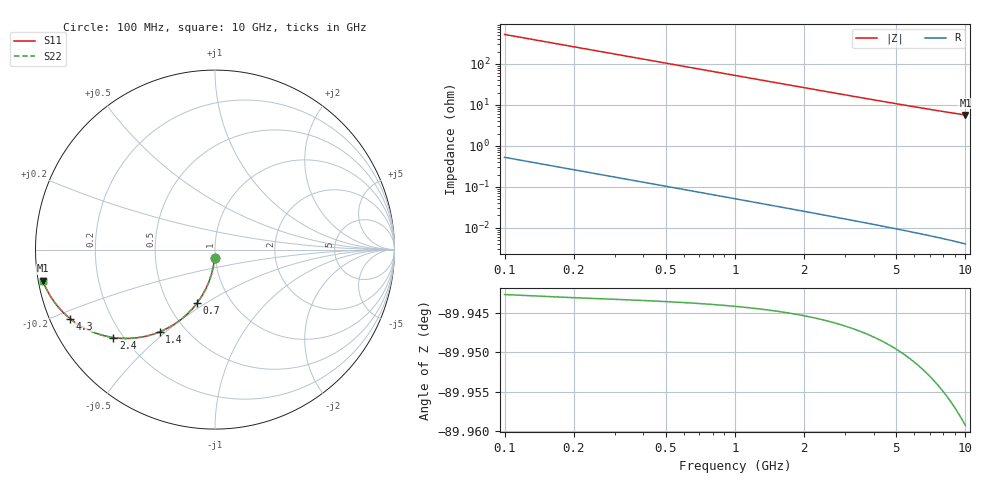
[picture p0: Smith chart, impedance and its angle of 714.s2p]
# Hz S RI R 50.00
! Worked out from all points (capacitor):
!   100 points, 100 MHz to 10 GHz, reference 50 ohm
!   read as one part in shunt: C = 3.03 pF near 100 MHz
!   lowest |Z| = 5.69 ohm at 10 GHz (marker M1)
!   S11 on the Smith chart (normalised r, x): 100 MHz: 0.99, -0.09; 700 MHz: 0.69, -0.46; 1.4 GHz: 0.36, -0.48; 2.4 GHz: 0.16, -0.36; 4.3 GHz: 0.06, -0.22; 10 GHz: 0.01, -0.09
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1e8  -0.00226 -0.0473  0.9976 -0.0477  0.9976 -0.0477  -0.00226 -0.0473
2e8  -0.00903 -0.094  0.9909 -0.0948  0.9909 -0.0948  -0.00903 -0.094
3e8  -0.0201 -0.1394  0.9798 -0.1406  0.9798 -0.1406  -0.0201 -0.1394
4e8  -0.0351 -0.1829  0.9647 -0.1846  0.9647 -0.1846  -0.0351 -0.1829
5e8  -0.0538 -0.2242  0.9461 -0.2263  0.9461 -0.2263  -0.0538 -0.2242
6e8  -0.0757 -0.2628  0.9242 -0.2653  0.9242 -0.2653  -0.0757 -0.2628
7e8  -0.1002 -0.2984  0.8997 -0.3014  0.8997 -0.3014  -0.1002 -0.2984
8e8  -0.127 -0.3308  0.8729 -0.3342  0.8729 -0.3342  -0.127 -0.3308
1e9  -0.1851 -0.3858  0.8148 -0.39  0.8148 -0.39  -0.1851 -0.3858
1.2e9  -0.2464 -0.4279  0.7535 -0.433  0.7535 -0.433  -0.2464 -0.4279
1.4e9  -0.3079 -0.4582  0.692 -0.4641  0.692 -0.4641  -0.3079 -0.4582
1.8e9  -0.4237 -0.4898  0.5762 -0.4975  0.5762 -0.4975  -0.4237 -0.4898
2.1e9  -0.5001 -0.495  0.4997 -0.504  0.4997 -0.504  -0.5001 -0.495
2.4e9  -0.5665 -0.4899  0.4333 -0.5002  0.4333 -0.5002  -0.5665 -0.4899
2.9e9  -0.6562 -0.4682  0.3436 -0.4807  0.3436 -0.4807  -0.6562 -0.4682
3.4e9  -0.7242 -0.439  0.2756 -0.4537  0.2756 -0.4537  -0.7242 -0.439
3.8e9  -0.7664 -0.4143  0.2333 -0.4307  0.2333 -0.4307  -0.7664 -0.4143
4.3e9  -0.8079 -0.3839  0.1918 -0.4026  0.1918 -0.4026  -0.8079 -0.3839
5.1e9  -0.8557 -0.3395  0.1439 -0.3618  0.1439 -0.3618  -0.8557 -0.3395
6.7e9  -0.9116 -0.2681  0.0879 -0.2978  0.0879 -0.2978  -0.9116 -0.2681
8.4e9  -0.9424 -0.2127  0.0568 -0.2505  0.0568 -0.2505  -0.9424 -0.2127
1e10  -0.959 -0.1734  0.0398 -0.2191  0.0398 -0.2191  -0.959 -0.1734
